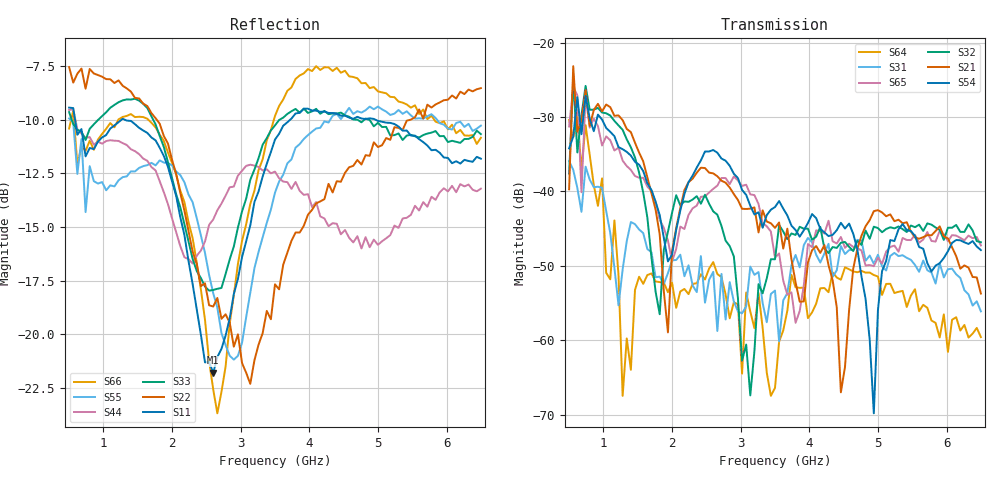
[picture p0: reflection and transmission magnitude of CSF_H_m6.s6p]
!Keysight Technologies,M9804A,MY58100912,A.14.10.03
!Date: Thursday, April 27, 2023 10:28:33
!Correction: S11(C  6-Port  )
!S12(C  6-Port  )
!S13(C  6-Port  )
!S14(C  6-Port  )
!S15(C  6-Port  )
!S16(C  6-Port  )
!S21(C  6-Port  )
!S22(C  6-Port  )
!S23(C  6-Port  )
!S24(C  6-Port  )
!S25(C  6-Port  )
!S26(C  6-Port  )
!S31(C  6-Port  )
!S32(C  6-Port  )
!S33(C  6-Port  )
!S34(C  6-Port  )
!S35(C  6-Port  )
!S36(C  6-Port  )
!S41(C  6-Port  )
!S42(C  6-Port  )
!S43(C  6-Port  )
!S44(C  6-Port  )
!S45(C  6-Port  )
!S46(C  6-Port  )
!S51(C  6-Port  )
!S52(C  6-Port  )
!S53(C  6-Port  )
!S54(C  6-Port  )
!S55(C  6-Port  )
!S56(C  6-Port  )
!S61(C  6-Port  )
!S62(C  6-Port  )
!S63(C  6-Port  )
!S64(C  6-Port  )
!S65(C  6-Port  )
!S66(C  6-Port  )
!S6P File: Measurement: :
# Hz S  RI  R 50
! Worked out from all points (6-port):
!   101 points, 500 MHz to 6.5 GHz, reference 50 ohm
!   strongest paths, dB at 500 MHz, 2 GHz, 3.5 GHz, 5 GHz, 6.5 GHz:
!     S54: -34.2, -48.5, -42.1, -56.0, -47.9
!     S21: -39.7, -48.0, -44.9, -42.5, -53.7
!     S32: -37.6, -42.9, -49.1, -44.9, -46.8
!     S65: -31.3, -49.4, -48.9, -48.9, -47.3
!     S31: -35.9, -49.3, -53.3, -48.5, -56.1
!     S64: -30.4, -52.3, -66.4, -51.4, -59.6
!   lowest |S11| = -21.8 dB at 2.6 GHz (marker M1), VSWR 1.18, Z = 42.7 + j1.89 ohm
!   |S11| at or under -10 dB: 586.2 MHz to 1.263 GHz (676.9 MHz wide, 73.2 % of centre); 1.312 GHz to 3.721 GHz (2.409 GHz wide, 95.7 % of centre); 4.965 GHz to end of sweep
